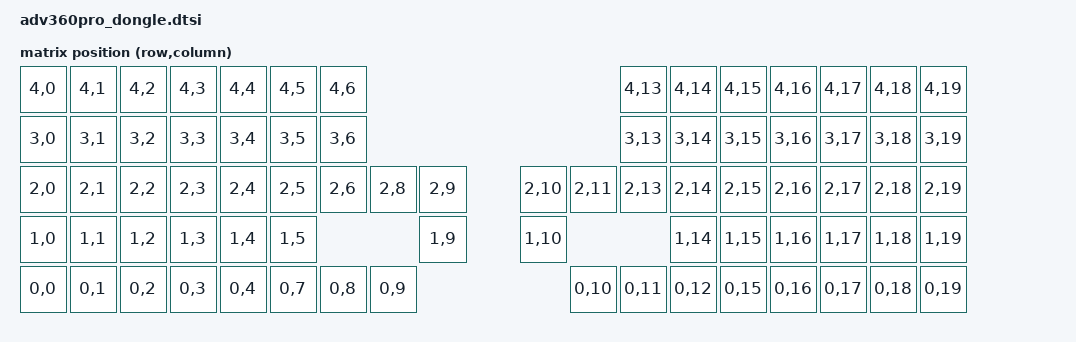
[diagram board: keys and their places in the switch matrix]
/*
 * Copyright (c) 2026 Alex Girard
 *
 * SPDX-License-Identifier: MIT
 *
 * Dongle central for the Kinesis Advantage 360 Pro.
 *
 * The dongle has no keys of its own, so it uses a mock kscan. It does need the
 * same physical layout and matrix transform as the halves, because it is the
 * device that runs the keymap. Both halves already report globally-correct key
 * positions into this 20x5 transform (the right half applies col-offset = <10>),
 * so no per-peripheral position mapping is needed here.
 *
 * adv360pro-layouts.dtsi is copied verbatim from the ZMK board directory; a
 * shield build cannot include from boards/arm/adv360pro.
 */

#include <dt-bindings/zmk/matrix_transform.h>

#include "adv360pro-layouts.dtsi"

&physical_layout0 {
    transform = <&matrix_transform0>;
};

/ {
    chosen {
        zmk,physical-layout = &physical_layout0;
        zmk,kscan = &kscan0;
    };

    kscan0: kscan {
        compatible = "zmk,kscan-mock";
        columns = <0>;
        rows = <0>;
        events = <>;
    };

    matrix_transform0: keymap_transform_0 {
        compatible = "zmk,matrix-transform";
        columns = <20>;
        rows = <5>;


        map = <
            RC(4,0) RC(4,1) RC(4,2) RC(4,3) RC(4,4) RC(4,5)  RC(4,6)                                                                        RC(4,13) RC(4,14) RC(4,15) RC(4,16) RC(4,17) RC(4,18) RC(4,19)
            RC(3,0) RC(3,1) RC(3,2) RC(3,3) RC(3,4) RC(3,5)  RC(3,6)                                                                        RC(3,13) RC(3,14) RC(3,15) RC(3,16) RC(3,17) RC(3,18) RC(3,19)
            RC(2,0) RC(2,1) RC(2,2) RC(2,3) RC(2,4) RC(2,5)  RC(2,6)           RC(2,8)  RC(2,9)            RC(2,10) RC(2,11)                RC(2,13) RC(2,14) RC(2,15) RC(2,16) RC(2,17) RC(2,18) RC(2,19)
            RC(1,0) RC(1,1) RC(1,2) RC(1,3) RC(1,4) RC(1,5)                             RC(1,9)            RC(1,10)                                  RC(1,14) RC(1,15) RC(1,16) RC(1,17) RC(1,18) RC(1,19)
            RC(0,0) RC(0,1) RC(0,2) RC(0,3) RC(0,4)                     RC(0,7) RC(0,8) RC(0,9)            RC(0,10) RC(0,11) RC(0,12)                         RC(0,15) RC(0,16) RC(0,17) RC(0,18) RC(0,19)

        >;
    };
};
